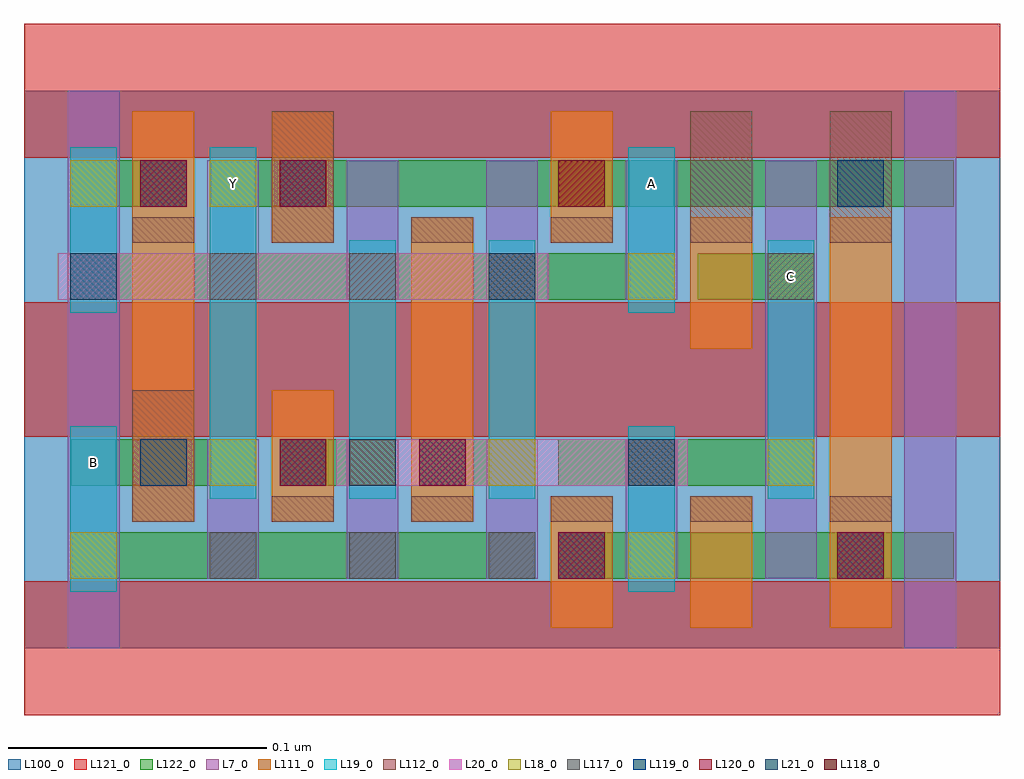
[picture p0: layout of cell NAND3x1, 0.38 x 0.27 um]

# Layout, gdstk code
import gdstk
lib = gdstk.Library(unit=1e-6, precision=2.5e-10)
def R(c, l, rs):  # rectangles x0, y0, x1, y1
    for r in rs: c.add(gdstk.rectangle(r[:2], r[2:], *l))
def A(c, l, x, y, w, h, nx, ny, dx, dy):  # array of equal rectangles
    R(c, l, [(x+i*dx, y+j*dy, x+i*dx+w, y+j*dy+h) for i in range(nx) for j in range(ny)])
L7_0 = (7, 0)
L18_0 = (18, 0)
L19_0 = (19, 0)
L20_0 = (20, 0)
L21_0 = (21, 0)
L100_0 = (100, 0)
L111_0 = (111, 0)
L112_0 = (112, 0)
L117_0 = (117, 0)
L118_0 = (118, 0)
L119_0 = (119, 0)
L120_0 = (120, 0)
L121_0 = (121, 0)
L122_0 = (122, 0)

nand3x1 = lib.new_cell('NAND3x1')
A(nand3x1, L7_0, 0.071, 0.027, 0.02, 0.054, 4, 2, 0.054, 0.108)
R(nand3x1, L7_0, [(0.017,0,0.037,0.108), (0.341,0,0.361,0.108), (0.287,0.027,0.307,0.108), (0.017,0.108,0.037,0.216), (0.287,0.108,0.307,0.189), (0.341,0.108,0.361,0.216)])
A(nand3x1, L18_0, 0.072, 0.063, 0.018, 0.018, 3, 1, 0.054, 0)
R(nand3x1, L18_0, [(0.018,0.027,0.036,0.045), (0.234,0.027,0.252,0.045), (0.288,0.063,0.306,0.081), (0.234,0.135,0.252,0.153), (0.288,0.135,0.306,0.153), (0.018,0.171,0.036,0.189), (0.072,0.171,0.09,0.189)])
R(nand3x1, L19_0, [(0.018,0.022,0.036,0.086), (0.234,0.022,0.252,0.086), (0.072,0.058,0.09,0.194), (0.126,0.058,0.144,0.158), (0.18,0.058,0.198,0.158), (0.288,0.058,0.306,0.158), (0.018,0.13,0.036,0.194), (0.234,0.13,0.252,0.194)])
R(nand3x1, L20_0, [(0.121,0.063,0.257,0.081), (0.013,0.135,0.203,0.153)])
R(nand3x1, L21_0, [(0.126,0.063,0.144,0.081), (0.234,0.063,0.252,0.081), (0.018,0.135,0.036,0.153), (0.18,0.135,0.198,0.153)])
R(nand3x1, L100_0, [(0,0,0.378,0.216)])
R(nand3x1, L111_0, [(0.204,0.008,0.228,0.059), (0.258,0.008,0.282,0.059), (0.312,0.008,0.336,0.108), (0.042,0.049,0.066,0.108), (0.096,0.049,0.12,0.1), (0.15,0.049,0.174,0.108), (0.042,0.108,0.066,0.208), (0.15,0.108,0.174,0.167), (0.312,0.108,0.336,0.167), (0.258,0.116,0.282,0.167), (0.096,0.157,0.12,0.208), (0.204,0.157,0.228,0.208)])
A(nand3x1, L112_0, 0.096, 0.049, 0.024, 0.01, 5, 1, 0.054, 0)
R(nand3x1, L112_0, [(0.042,0.049,0.066,0.1), (0.042,0.157,0.066,0.167), (0.096,0.157,0.12,0.208), (0.15,0.157,0.174,0.167), (0.204,0.157,0.228,0.167), (0.258,0.157,0.282,0.208), (0.312,0.157,0.336,0.208)])
A(nand3x1, L117_0, 0.072, 0.027, 0.018, 0.018, 3, 2, 0.054, 0.108)
R(nand3x1, L117_0, [(0.234,0.063,0.252,0.081), (0.288,0.135,0.306,0.153)])
R(nand3x1, L118_0, [(0.207,0.171,0.225,0.189)])
A(nand3x1, L119_0, 0.045, 0.063, 0.018, 0.018, 3, 1, 0.054, 0)
R(nand3x1, L119_0, [(0.207,0.027,0.225,0.045), (0.315,0.027,0.333,0.045), (0.045,0.171,0.063,0.189), (0.099,0.171,0.117,0.189), (0.315,0.171,0.333,0.189)])
R(nand3x1, L120_0, [(0.207,0.027,0.225,0.045), (0.315,0.027,0.333,0.045), (0.099,0.063,0.117,0.081), (0.153,0.063,0.171,0.081), (0.045,0.171,0.063,0.189), (0.099,0.171,0.117,0.189), (0.207,0.171,0.225,0.189)])
A(nand3x1, L121_0, 0, -0.026, 0.378, 0.052, 1, 3, 0, 0.108)
R(nand3x1, L122_0, [(0.018,0.027,0.198,0.045), (0.207,0.027,0.36,0.045), (0.018,0.063,0.09,0.081), (0.099,0.063,0.144,0.081), (0.153,0.063,0.198,0.081), (0.207,0.063,0.306,0.081), (0.018,0.135,0.252,0.153), (0.261,0.135,0.306,0.153), (0.018,0.171,0.063,0.189), (0.072,0.171,0.36,0.189)])
nand3x1.add(gdstk.Label('Y', (0.081,0.18), layer=19, texttype=251))
nand3x1.add(gdstk.Label('C', (0.297,0.144), layer=19, texttype=251))
nand3x1.add(gdstk.Label('B', (0.027,0.072), layer=19, texttype=251))
nand3x1.add(gdstk.Label('A', (0.243,0.18), layer=19, texttype=251))

lib.write_gds('NAND3x1.gds')
